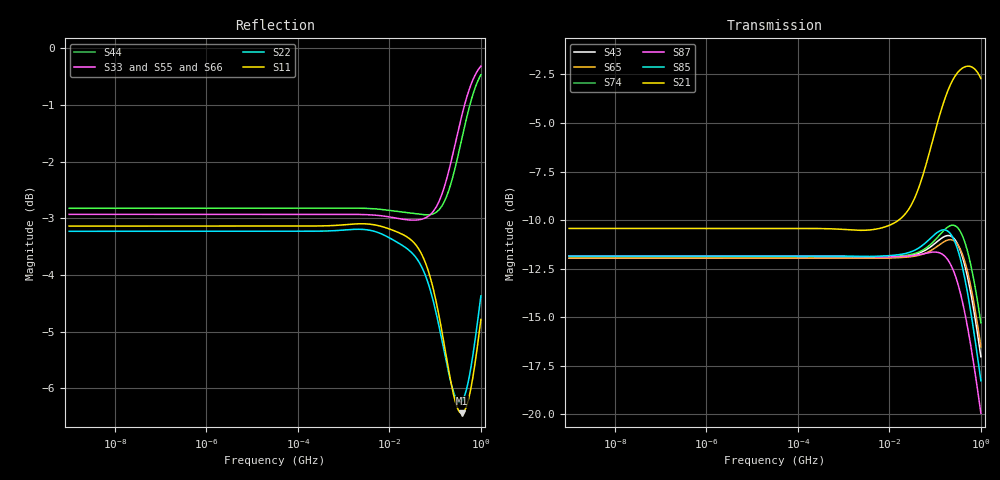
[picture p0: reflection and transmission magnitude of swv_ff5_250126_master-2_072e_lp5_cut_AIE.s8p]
! Touchstone file exported from Ansys Full-Wave Spice
! Project: 0000_PSI_S-parameter_Sweep
!  Design: unknown
! Creation time: Thu Apr 17 17:05:54 2025
! Notes: ! Touchstone(R) file created by SIwave 2025 R1
!  : ! Touchstone(R) file created on Thu Apr 17 17:05:54 2025
# HZ S RI R 0.1
! Modal data exported
! Port[1] = PORT_1_DIE1_VDDCR_AIE_Group_DIE1_GRP_1_1_VSS
! Port[2] = PORT_2_BGA1_VDDCR_AIE_Group_BGA1_GRP_1_1_VSS
! Port[3] = VDDCR_AIE_C10_2
! Port[4] = VDDCR_AIE_C32_2
! Port[5] = VDDCR_AIE_C90_1
! Port[6] = VDDCR_AIE_C91_1
! Port[7] = VDDCR_AIE_C126_2
! Port[8] = VDDCR_AIE_C127_1
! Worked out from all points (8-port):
!   420 points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, 1 Hz to 1 GHz, reference 0.1 ohm
!   strongest paths, dB at 1 Hz, 3.687 kHz, 11.66 MHz, 482.9 MHz, 1 GHz:
!     S21: -10.4, -10.4, -10.2, -2.1, -2.7
!     S85: -11.9, -11.9, -11.8, -13.4, -18.3
!     S87: -11.9, -11.9, -11.9, -15.2, -20.0
!     S74: -11.9, -11.9, -11.9, -11.4, -15.3
!     S65: -12.0, -12.0, -12.0, -12.4, -16.5
!     S43: -12.0, -12.0, -11.9, -12.7, -17.0
!   lowest |S11| = -6.4 dB at 378.5 MHz (marker M1), VSWR 2.82, Z = 0.0482 + j0.0547 ohm
!   |S11| at or under -10 dB: nowhere
